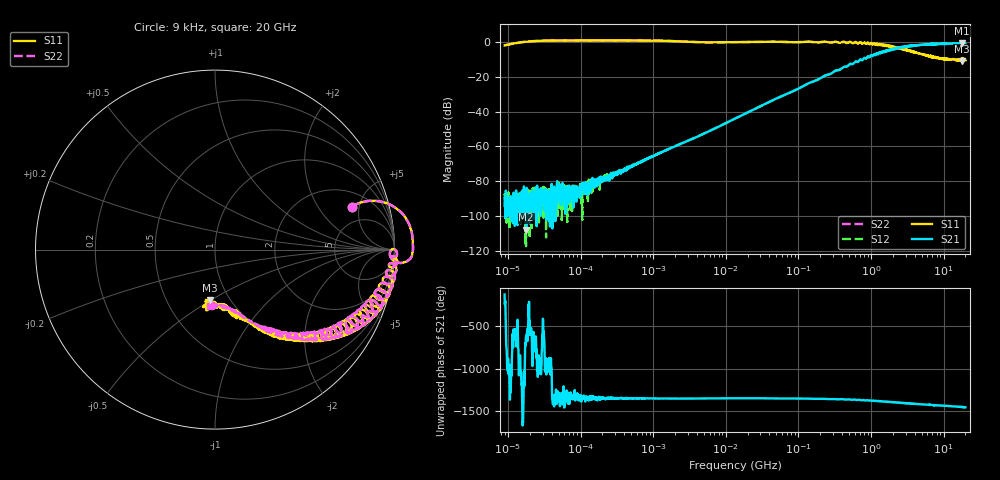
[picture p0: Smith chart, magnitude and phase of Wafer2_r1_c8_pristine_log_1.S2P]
!  2-Port S-parameters saved by WinCal
! VAR MeasName=S-Parameters (CALIBRATED_DATA) read from VNA (P5004A)
! VAR MeasDate=26/04/2024 18:18:17
! VAR NAME=Wafer2_r1_c8_pristine_log
! VAR FILENAME=Wafer2_r1_c8_pristine_log_1.S2P
! VAR DATE=26/04/2024 18:18:17
! VAR PHYS_PORTS=1,2
! VAR ObjTypeName=DATASET
! VAR IndexType=Frequency
# Hz S MA R 50
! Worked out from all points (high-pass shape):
!   2000 points, 9 kHz to 20 GHz, reference 50 ohm
!   highest |S21| = -0.66 dB at 18.05 GHz (marker M1); lowest = -107.9 dB at 17.89 kHz (marker M2)
!   |S21| within 3 dB of the highest: 2.259 GHz to 2.319 GHz (59.93 MHz wide, 2.62 % of centre); 2.344 GHz to end of sweep (the widest 2 of 3)
!   lowest |S11| = -11.0 dB at 17.79 GHz (marker M3), VSWR 1.79, Z = 40.5 - j24.8 ohm
!   |S11| at or under -10 dB: 11.53 GHz to 11.85 GHz (316.2 MHz wide, 2.7 % of centre); 12.15 GHz to 12.94 GHz (792.3 MHz wide, 6.32 % of centre); 14.27 GHz to 17.02 GHz (2.753 GHz wide, 17.6 % of centre) (the widest 3 of 16)
!   |S22| runs from -10.6 to 0.9 dB; largest |S21 - S12| = 0.036
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9000  0.7977 17.3  1.979e-05 -127.1  3.878e-05 107.6  0.7977 17.3
17893.31  1.019 13.8  4.018e-06 90.3  3.186e-05 106.3  1.019 13.8
33066.57  1.091 7.4  2.535e-05 38.7  3.108e-05 -39.4  1.091 7.4
103439.5  1.102 2.1  8.633e-05 87.2  5.649e-05 90.3  1.102 2.1
173824.1  1.103 1.1  9.691e-05 85.1  8.554e-05 90.6  1.103 1.1
259856.7  1.103 0.4  0.0001328 82.5  0.0001471 85.0  1.103 0.4
1180198  1.09 -2.6  0.0006187 86.2  0.0006254 86.5  1.09 -2.6
4530556  0.9807 -2.6  0.002098 86.6  0.002124 86.6  0.9808 -2.6
1.346554e7  0.9861 0.1  0.006258 89.2  0.00633 88.8  0.9861 0.1
1.105652e8  0.9951 -2.1  0.05054 86.5  0.05089 86.0  0.9948 -2.1
1.536358e8  1.001 -5.6  0.07086 82.6  0.07016 82.8  1.001 -5.5
2.966476e8  0.9821 -6.7  0.1316 81.3  0.1328 81.2  0.9819 -6.7
7.506948e8  0.8959 -21.0  0.2997 66.2  0.299 66.4  0.8976 -20.7
1.043128e9  0.8526 -28.0  0.3912 58.7  0.3914 58.7  0.8543 -27.6
1.752917e9  0.741 -37.5  0.5567 47.9  0.5597 47.9  0.7408 -37.2
2.860783e9  0.6247 -50.1  0.7296 33.8  0.734 33.5  0.6228 -49.5
5.364551e9  0.4328 -66.6  0.8393 15.6  0.8373 15.3  0.4317 -64.8
9.488158e9  0.3345 -80.9  0.8893 1.6  0.8794 1.4  0.3341 -76.6
1.347662e10  0.3247 -88.1  0.9236 -5.8  0.9198 -6.7  0.311 -85.7
1.779223e10  0.2832 -95.7  0.8784 -14.7  0.8822 -12.5  0.3269 -91.1
1.805428e10  0.3371 -97.7  0.9269 -14.6  0.9015 -16.2  0.2951 -91.7
2e10  0.2972 -97.5  0.8856 -17.6  0.8987 -16.9  0.3159 -95.3
